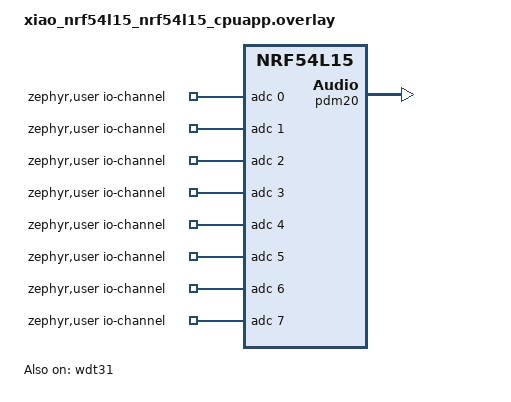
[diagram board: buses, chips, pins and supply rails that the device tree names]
/ {
	zephyr,user {
		io-channels = <&adc 0>, <&adc 1>, <&adc 2>, <&adc 3>,
			<&adc 4>, <&adc 5>, <&adc 6>, <&adc 7>;
	};
};

&wdt31 {
	status = "okay";
};

dmic_dev: &pdm20 {
    status = "okay";
};

&cpuapp_rram {
	reg = <0x0 DT_SIZE_K(1524)>;
};

&cpuapp_sram {
	reg = <0x20000000 DT_SIZE_K(256)>;
	ranges = <0x0 0x20000000  0x40000>;
};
